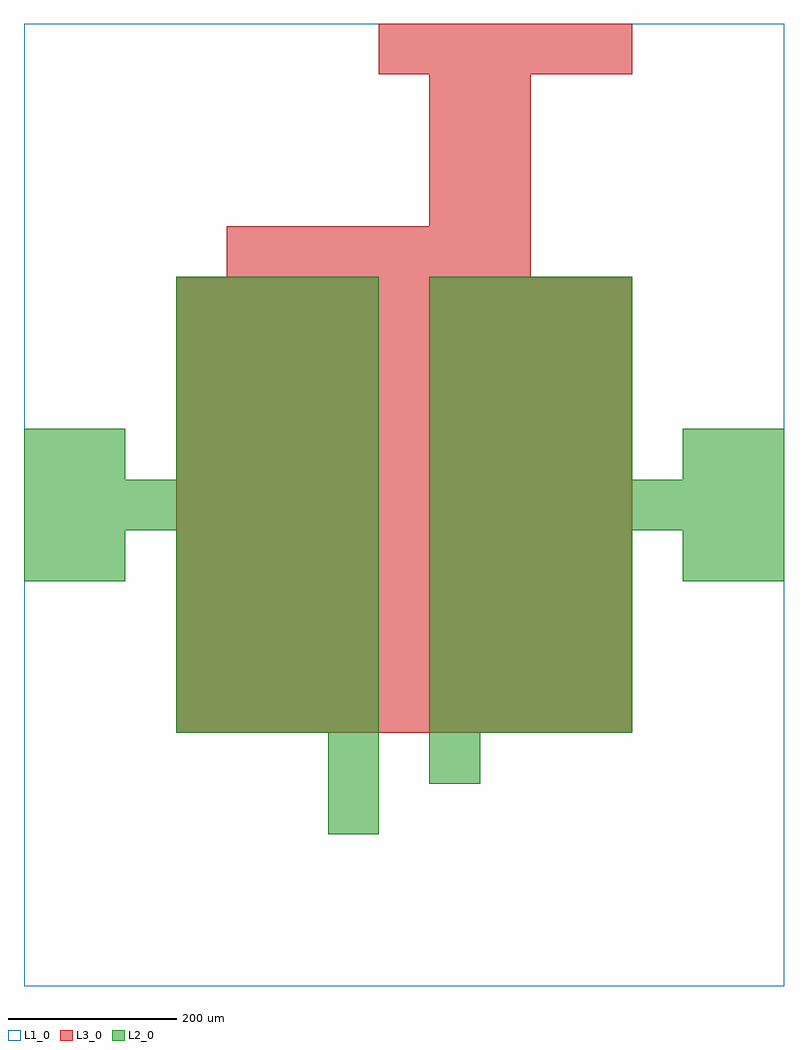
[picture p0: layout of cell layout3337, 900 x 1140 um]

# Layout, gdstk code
import gdstk
lib = gdstk.Library(unit=1e-6, precision=1e-09)
def R(c, l, rs):  # rectangles x0, y0, x1, y1
    for r in rs: c.add(gdstk.rectangle(r[:2], r[2:], *l))
def A(c, l, x, y, w, h, nx, ny, dx, dy):  # array of equal rectangles
    R(c, l, [(x+i*dx, y+j*dy, x+i*dx+w, y+j*dy+h) for i in range(nx) for j in range(ny)])
L1_0 = (1, 0)
L2_0 = (2, 0)
L3_0 = (3, 0)

layout3337 = lib.new_cell('layout3337')
R(layout3337, L1_0, [(0,0,900,1140)])
A(layout3337, L2_0, 180, 300, 60, 60, 4, 4, 60, 60)
A(layout3337, L2_0, 480, 300, 60, 60, 4, 4, 60, 60)
A(layout3337, L2_0, 0, 540, 60, 60, 7, 1, 60, 0)
A(layout3337, L2_0, 480, 540, 60, 60, 7, 1, 60, 0)
A(layout3337, L2_0, 180, 600, 60, 60, 4, 4, 60, 60)
A(layout3337, L2_0, 480, 600, 60, 60, 4, 4, 60, 60)
R(layout3337, L2_0, [(360,180,420,240), (360,240,420,300), (480,240,540,300), (0,480,60,540), (60,480,120,540), (780,480,840,540), (840,480,900,540), (0,600,60,660), (60,600,120,660), (780,600,840,660), (840,600,900,660)])
A(layout3337, L3_0, 180, 300, 60, 60, 9, 9, 60, 60)
A(layout3337, L3_0, 240, 840, 60, 60, 6, 1, 60, 0)
A(layout3337, L3_0, 480, 900, 60, 60, 1, 3, 0, 60)
A(layout3337, L3_0, 540, 900, 60, 60, 1, 3, 0, 60)
A(layout3337, L3_0, 420, 1080, 60, 60, 5, 1, 60, 0)

lib.write_gds('layout3337.gds')
